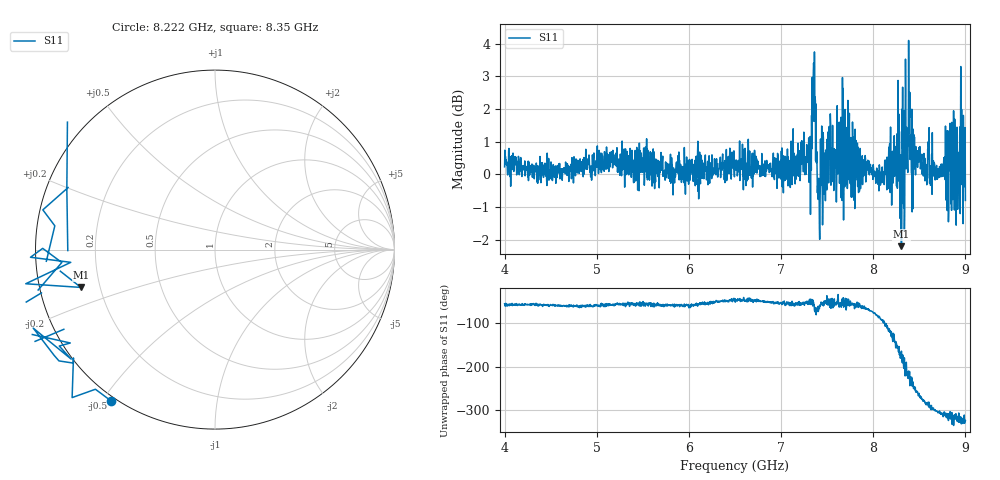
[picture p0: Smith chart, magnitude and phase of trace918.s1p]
! Created with skrf 1.8.0 (http://scikit-rf.org).
# Hz S RI R 50.0
!freq ReS11 ImS11
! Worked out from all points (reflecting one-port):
!   1601 points, 4 GHz to 9 GHz, reference 50 ohm
!   lowest |S11| = -2.2 dB at 8.306 GHz (marker M1), VSWR 7.94, Z = 6.41 - j6.8 ohm
!   phase of S11 starts at -55 deg and turns -269 deg over the sweep
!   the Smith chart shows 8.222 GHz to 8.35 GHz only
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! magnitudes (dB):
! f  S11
! 4 GHz  0.2
! 4.625 GHz  -0.2
! 5.25 GHz  0.0
! 5.875 GHz  0.2
! 6.5 GHz  0.4
! 7.125 GHz  -0.1
! 7.294 GHz  0.7
! 7.356 GHz  3.3
! 7.4 GHz  -0.5
! 7.412 GHz  -0.2
! 7.512 GHz  1.3
! 7.578 GHz  0.7
! 7.65 GHz  1.7
! 7.75 GHz  -0.3
! 7.769 GHz  -0.4
! 7.822 GHz  0.2
! 8.097 GHz  0.2
! 8.262 GHz  -0.4
! 8.306 GHz  -2.2
! 8.316 GHz  0.8
! 8.375 GHz  0.1
! 8.447 GHz  1.1
! 8.556 GHz  0.0
! 8.794 GHz  -0.1
! 8.847 GHz  0.3
! 8.9 GHz  -1.6
! 8.972 GHz  0.5
! 9 GHz  -0.8
